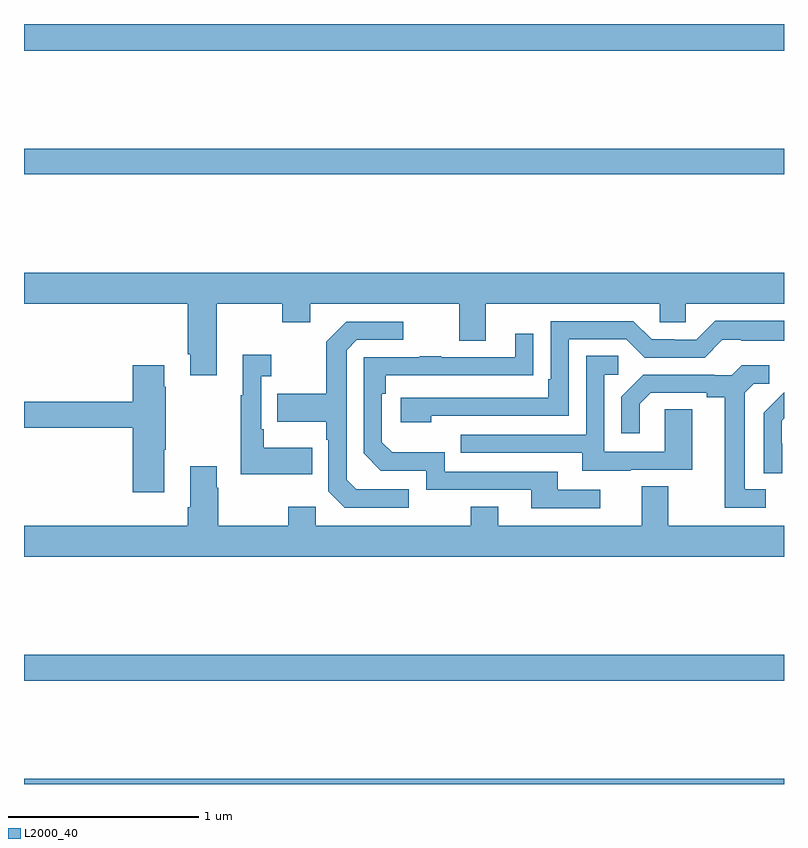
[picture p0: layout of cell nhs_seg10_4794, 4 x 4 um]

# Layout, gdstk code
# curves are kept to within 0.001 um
import gdstk
lib = gdstk.Library(unit=1e-6, precision=1e-09)
def R(c, l, rs):  # rectangles x0, y0, x1, y1
    for r in rs: c.add(gdstk.rectangle(r[:2], r[2:], *l))
def P(c, l, *ps):  # polygons
    for p in ps: c.add(gdstk.Polygon(p, *l))
L2000_40 = (2000, 40)

nhs_seg10_4794 = lib.new_cell('nhs_seg10_4794')
R(nhs_seg10_4794, L2000_40, [(387,1252.5,391,1252.528), (387,1253.044,391,1253.18), (387,1255.708,391,1255.844), (387,1256.36,391,1256.5)])
P(nhs_seg10_4794, L2000_40, [(388.015,1255.028),(388.36,1255.028),(388.36,1254.929),(388.507,1254.929),(388.507,1255.028),(389.291,1255.028),(389.291,1254.834),(389.431,1254.834),(389.431,1255.028),(390.345,1255.028),(390.345,1254.93),(390.483,1254.93),(390.483,1255.028),(391,1255.028),(391,1255.192),(387,1255.192),(387,1255.028),(387.863,1255.028),(387.863,1254.763),(387.875,1254.763),(387.875,1254.651),(388.015,1254.651)],
  [(389.144,1254.438),(389.868,1254.438),(389.868,1254.84),(390.171,1254.84),(390.267,1254.744),(390.582,1254.744),(390.675,1254.837),(390.775,1254.837),(390.775,1254.833),(391,1254.833),(391,1254.937),(390.637,1254.937),(390.537,1254.837),(390.422,1254.837),(390.422,1254.84),(390.303,1254.84),(390.207,1254.936),(389.772,1254.936),(389.772,1254.631),(389.759,1254.631),(389.759,1254.534),(388.983,1254.534),(388.983,1254.404),(389.144,1254.404)],
  [(389.026,1254.051),(388.749,1254.051),(388.698,1254.102),(388.698,1254.783),(388.752,1254.837),(388.996,1254.837),(388.996,1254.933),(388.695,1254.933),(388.59,1254.827),(388.59,1254.555),(388.333,1254.555),(388.333,1254.407),(388.59,1254.407),(388.59,1254.311),(388.602,1254.311),(388.602,1254.042),(388.689,1253.955),(389.026,1253.955)],
  [(390.034,1254.048),(389.809,1254.048),(389.809,1254.144),(389.214,1254.144),(389.214,1254.247),(388.937,1254.247),(388.884,1254.3),(388.884,1254.554),(388.904,1254.554),(388.904,1254.651),(389.681,1254.652),(389.681,1254.871),(389.585,1254.871),(389.585,1254.747),(389.195,1254.747),(389.195,1254.752),(389.083,1254.752),(389.083,1254.747),(388.788,1254.747),(388.788,1254.24),(388.878,1254.15),(389.118,1254.15),(389.118,1254.048),(389.669,1254.048),(389.669,1253.952),(390.034,1253.952)],
  [(388.517,1254.271),(388.261,1254.271),(388.261,1254.367),(388.248,1254.367),(388.248,1254.647),(388.3,1254.647),(388.3,1254.76),(388.151,1254.76),(388.151,1254.547),(388.14,1254.547),(388.14,1254.131),(388.517,1254.131)],
  [(390.193,1254.153),(390.517,1254.153),(390.517,1254.473),(390.372,1254.473),(390.372,1254.249),(390.054,1254.249),(390.054,1254.654),(390.127,1254.654),(390.127,1254.755),(389.958,1254.755),(389.958,1254.339),(389.299,1254.339),(389.299,1254.243),(389.939,1254.243),(389.939,1254.149),(390.193,1254.149)],
  [(387.739,1254.259),(387.747,1254.259),(387.747,1254.59),(387.739,1254.59),(387.739,1254.703),(387.572,1254.703),(387.572,1254.512),(387,1254.512),(387,1254.376),(387.572,1254.376),(387.572,1254.036),(387.739,1254.036)],
  [(390.904,1254.051),(390.793,1254.051),(390.793,1254.559),(390.84,1254.606),(390.922,1254.606),(390.922,1254.703),(390.778,1254.703),(390.726,1254.651),(390.632,1254.651),(390.632,1254.654),(390.26,1254.654),(390.144,1254.538),(390.144,1254.345),(390.241,1254.345),(390.241,1254.501),(390.298,1254.558),(390.593,1254.558),(390.593,1254.536),(390.689,1254.536),(390.689,1253.955),(390.904,1253.955)],
  [(390.99,1254.29),(390.989,1254.29),(390.989,1254.413),(391,1254.424),(391,1254.562),(390.966,1254.528),(390.967,1254.527),(390.894,1254.454),(390.894,1254.136),(390.99,1254.136)],
  [(391,1253.86),(390.391,1253.86),(390.391,1254.068),(390.251,1254.068),(390.251,1253.86),(389.497,1253.86),(389.497,1253.959),(389.35,1253.959),(389.35,1253.86),(388.536,1253.86),(388.536,1253.959),(388.39,1253.959),(388.39,1253.86),(388.023,1253.86),(388.023,1254.059),(388.015,1254.059),(388.015,1254.172),(387.875,1254.172),(387.875,1253.956),(387.863,1253.956),(387.863,1253.86),(387,1253.86),(387,1253.696),(391,1253.696)])

lib.write_gds('nhs_seg10_4794.gds')
